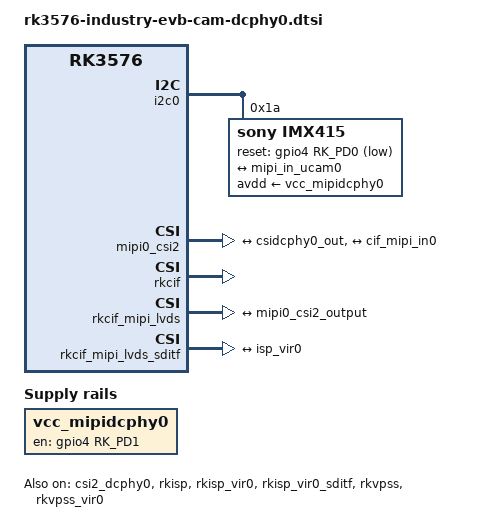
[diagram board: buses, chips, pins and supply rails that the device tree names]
// SPDX-License-Identifier: (GPL-2.0+ OR MIT)
/*
 * Copyright (c) 2024 Rockchip Electronics Co., Ltd.
 *
 */

/ {
	vcc_mipidcphy0: vcc-mipidcphy0 {
		compatible = "regulator-fixed";
		pinctrl-names = "default";
		pinctrl-0 = <&mipidcphy0_pwr>;
		regulator-name = "vcc_mipidcphy0";
		regulator-boot-on;
		enable-active-high;
		gpio = <&gpio4 RK_PD1 GPIO_ACTIVE_HIGH>;
	};
};


&csi2_dcphy0 {
	status = "okay";

	ports {
		#address-cells = <1>;
		#size-cells = <0>;
		port@0 {
			reg = <0>;
			#address-cells = <1>;
			#size-cells = <0>;

			mipi_in_ucam0: endpoint@1 {
				reg = <1>;
				remote-endpoint = <&imx415_out0>;
				data-lanes = <1 2 3 4>;
			};
		};
		port@1 {
			reg = <1>;
			#address-cells = <1>;
			#size-cells = <0>;

			csidcphy0_out: endpoint@0 {
				reg = <0>;
				remote-endpoint = <&mipi0_csi2_input>;
			};
		};
	};
};

&i2c0 {
	status = "okay";

	imx415: imx415@1a {
		compatible = "sony,imx415";
		reg = <0x1a>;
		clocks = <&cru REF_CLK0_OUT_PLL>;
		clock-names = "xvclk";
		pinctrl-names = "default";
		pinctrl-0 = <&ref_clk0_clk0>;
		power-domains = <&power RK3576_PD_VI>;
		avdd-supply = <&vcc_mipidcphy0>;
		reset-gpios = <&gpio4 RK_PD0 GPIO_ACTIVE_LOW>;
		rockchip,camera-module-index = <0>;
		rockchip,camera-module-facing = "back";
		rockchip,camera-module-name = "CMK-OT2022-PX1";
		rockchip,camera-module-lens-name = "IR0147-50IRC-8M-F20";
		port {
			imx415_out0: endpoint {
				remote-endpoint = <&mipi_in_ucam0>;
				data-lanes = <1 2 3 4>;
			};
		};
	};
};

&mipi0_csi2 {
	status = "okay";

	ports {
		#address-cells = <1>;
		#size-cells = <0>;

		port@0 {
			reg = <0>;
			#address-cells = <1>;
			#size-cells = <0>;

			mipi0_csi2_input: endpoint@1 {
				reg = <1>;
				remote-endpoint = <&csidcphy0_out>;
			};
		};

		port@1 {
			reg = <1>;
			#address-cells = <1>;
			#size-cells = <0>;

			mipi0_csi2_output: endpoint@0 {
				reg = <0>;
				remote-endpoint = <&cif_mipi_in0>;
			};
		};
	};
};

&pinctrl {
	cam {
		mipidcphy0_pwr: mipidcphy0-pwr {
			rockchip,pins =
				/* camera power en */
				<4 RK_PD1 RK_FUNC_GPIO &pcfg_pull_none>;
		};
	};
};


&rkcif {
	status = "okay";
};

&rkcif_mipi_lvds {
	status = "okay";

	port {
		cif_mipi_in0: endpoint {
			remote-endpoint = <&mipi0_csi2_output>;
		};
	};
};

&rkcif_mipi_lvds_sditf {
	status = "okay";

	port {
		mipi_lvds_sditf: endpoint {
			remote-endpoint = <&isp_vir0>;
		};
	};
};

&rkcif_mmu {
	status = "okay";
};

&rkisp {
	status = "okay";
};

&rkisp_mmu {
	status = "okay";
};

&rkisp_vir0 {
	status = "okay";

	port {
		#address-cells = <1>;
		#size-cells = <0>;

		isp_vir0: endpoint@0 {
			reg = <0>;
			remote-endpoint = <&mipi_lvds_sditf>;
		};
	};
};

&rkisp_vir0_sditf {
	status = "okay";
};

&rkvpss {
	status = "okay";
};

&rkvpss_mmu {
	status = "okay";
};

&rkvpss_vir0 {
	status = "okay";
};

